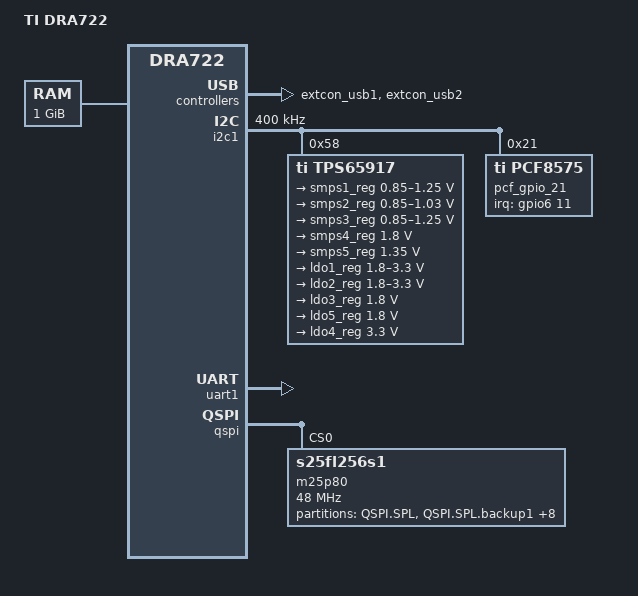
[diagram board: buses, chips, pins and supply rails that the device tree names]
/*
 * Copyright (C) 2014 Texas Instruments Incorporated - http://www.ti.com/
 *
 * This program is free software; you can redistribute it and/or modify
 * it under the terms of the GNU General Public License version 2 as
 * published by the Free Software Foundation.
 */
/dts-v1/;

#include "dra72x.dtsi"
#include <dt-bindings/gpio/gpio.h>

/ {
	model = "TI DRA722";
	compatible = "ti,dra72-evm", "ti,dra722", "ti,dra72", "ti,dra7";

	memory {
		device_type = "memory";
		reg = <0x80000000 0x40000000>; /* 1024 MB */
	};
};

&dra7_pmx_core {
	i2c1_pins: pinmux_i2c1_pins {
		pinctrl-single,pins = <
			0x400 (PIN_INPUT | MUX_MODE0) /* i2c1_sda.i2c1_sda */
			0x404 (PIN_INPUT | MUX_MODE0) /* i2c1_scl.i2c1_scl */
		>;
	};

	extcon_usb1: extcon_usb1 {
		compatible = "linux,extcon-usb-gpio";
		id-gpio = <&pcf_gpio_21 1 GPIO_ACTIVE_HIGH>;
	};

	extcon_usb2: extcon_usb2 {
		compatible = "linux,extcon-usb-gpio";
		id-gpio = <&pcf_gpio_21 2 GPIO_ACTIVE_HIGH>;
	};
};

&i2c1 {
	status = "okay";
	pinctrl-names = "default";
	pinctrl-0 = <&i2c1_pins>;
	clock-frequency = <400000>;

	tps65917: tps65917@58 {
		compatible = "ti,tps65917";
		reg = <0x58>;

		interrupts = <GIC_SPI 2 IRQ_TYPE_NONE>;  /* IRQ_SYS_1N */
		interrupt-parent = <&gic>;
		interrupt-controller;
		#interrupt-cells = <2>;

		ti,system-power-controller;

		tps65917_pmic {
			compatible = "ti,tps65917-pmic";

			regulators {
				smps1_reg: smps1 {
					/* VDD_MPU */
					regulator-name = "smps1";
					regulator-min-microvolt = <850000>;
					regulator-max-microvolt = <1250000>;
					regulator-always-on;
					regulator-boot-on;
				};

				smps2_reg: smps2 {
					/* VDD_CORE */
					regulator-name = "smps2";
					regulator-min-microvolt = <850000>;
					regulator-max-microvolt = <1030000>;
					regulator-boot-on;
					regulator-always-on;
				};

				smps3_reg: smps3 {
					/* VDD_GPU IVA DSPEVE */
					regulator-name = "smps3";
					regulator-min-microvolt = <850000>;
					regulator-max-microvolt = <1250000>;
					regulator-boot-on;
					regulator-always-on;
				};

				smps4_reg: smps4 {
					/* VDDS1V8 */
					regulator-name = "smps4";
					regulator-min-microvolt = <1800000>;
					regulator-max-microvolt = <1800000>;
					regulator-always-on;
					regulator-boot-on;
				};

				smps5_reg: smps5 {
					/* VDD_DDR */
					regulator-name = "smps5";
					regulator-min-microvolt = <1350000>;
					regulator-max-microvolt = <1350000>;
					regulator-boot-on;
					regulator-always-on;
				};

				ldo1_reg: ldo1 {
					/* LDO1_OUT --> SDIO  */
					regulator-name = "ldo1";
					regulator-min-microvolt = <1800000>;
					regulator-max-microvolt = <3300000>;
					regulator-boot-on;
				};

				ldo2_reg: ldo2 {
					/* LDO2_OUT --> TP1017 (UNUSED)  */
					regulator-name = "ldo2";
					regulator-min-microvolt = <1800000>;
					regulator-max-microvolt = <3300000>;
				};

				ldo3_reg: ldo3 {
					/* VDDA_1V8_PHY */
					regulator-name = "ldo3";
					regulator-min-microvolt = <1800000>;
					regulator-max-microvolt = <1800000>;
					regulator-boot-on;
					regulator-always-on;
				};

				ldo5_reg: ldo5 {
					/* VDDA_1V8_PLL */
					regulator-name = "ldo5";
					regulator-min-microvolt = <1800000>;
					regulator-max-microvolt = <1800000>;
					regulator-always-on;
					regulator-boot-on;
				};

				ldo4_reg: ldo4 {
					/* VDDA_3V_USB: VDDA_USBHS33 */
					regulator-name = "ldo4";
					regulator-min-microvolt = <3300000>;
					regulator-max-microvolt = <3300000>;
					regulator-boot-on;
				};
			};
		};
	};

	pcf_gpio_21: gpio@21 {
		compatible = "ti,pcf8575";
		reg = <0x21>;
		lines-initial-states = <0x1408>;
		gpio-controller;
		#gpio-cells = <2>;
		interrupt-parent = <&gpio6>;
		interrupts = <11 IRQ_TYPE_EDGE_FALLING>;
		interrupt-controller;
		#interrupt-cells = <2>;
	};
};

&uart1 {
	status = "okay";
};

&qspi {
	status = "okay";
	pinctrl-names = "default";
	pinctrl-0 = <&qspi1_pins>;

	spi-max-frequency = <48000000>;
	m25p80@0 {
		compatible = "s25fl256s1";
		spi-max-frequency = <48000000>;
		reg = <0>;
		spi-tx-bus-width = <1>;
		spi-rx-bus-width = <4>;
		spi-cpol;
		spi-cpha;
		#address-cells = <1>;
		#size-cells = <1>;

		/* MTD partition table.
		 * The ROM checks the first four physical blocks
		 * for a valid file to boot and the flash here is
		 * 64KiB block size.
		 */
		partition@0 {
			label = "QSPI.SPL";
			reg = <0x00000000 0x000010000>;
		};
		partition@1 {
			label = "QSPI.SPL.backup1";
			reg = <0x00010000 0x00010000>;
		};
		partition@2 {
			label = "QSPI.SPL.backup2";
			reg = <0x00020000 0x00010000>;
		};
		partition@3 {
			label = "QSPI.SPL.backup3";
			reg = <0x00030000 0x00010000>;
		};
		partition@4 {
			label = "QSPI.u-boot";
			reg = <0x00040000 0x00100000>;
		};
		partition@5 {
			label = "QSPI.u-boot-spl-os";
			reg = <0x00140000 0x00080000>;
		};
		partition@6 {
			label = "QSPI.u-boot-env";
			reg = <0x001c0000 0x00010000>;
		};
		partition@7 {
			label = "QSPI.u-boot-env.backup1";
			reg = <0x001d0000 0x0010000>;
		};
		partition@8 {
			label = "QSPI.kernel";
			reg = <0x001e0000 0x0800000>;
		};
		partition@9 {
			label = "QSPI.file-system";
			reg = <0x009e0000 0x01620000>;
		};
	};
};
